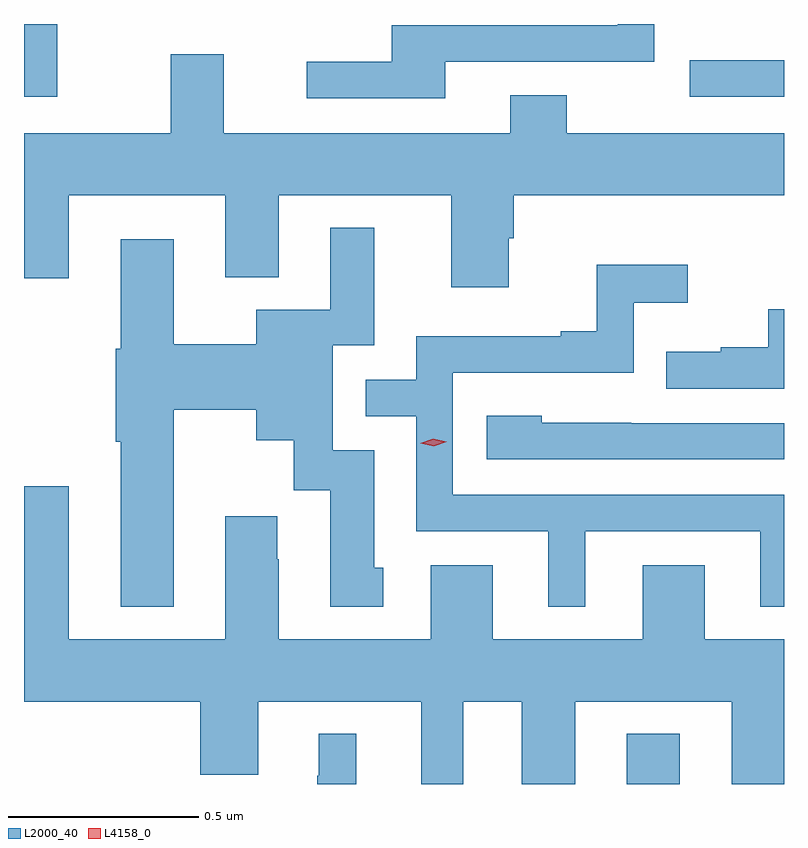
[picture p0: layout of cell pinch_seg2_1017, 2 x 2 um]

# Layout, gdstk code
import gdstk
lib = gdstk.Library(unit=1e-6, precision=1e-09)
def R(c, l, rs):  # rectangles x0, y0, x1, y1
    for r in rs: c.add(gdstk.rectangle(r[:2], r[2:], *l))
def P(c, l, *ps):  # polygons
    for p in ps: c.add(gdstk.Polygon(p, *l))
L2000_40 = (2000, 40)
L4158_0 = (4158, 0)

pinch_seg2_1017 = lib.new_cell('pinch_seg2_1017')
R(pinch_seg2_1017, L2000_40, [(137.015,652.747,137.155,652.879), (135.429,654.555,135.517,654.747), (137.181,654.555,137.429,654.651)])
P(pinch_seg2_1017, L2000_40, [(136.537,654.648),(137.088,654.648),(137.088,654.747),(136.992,654.747),(136.992,654.744),(136.397,654.744),(136.397,654.648),(136.173,654.648),(136.173,654.552),(136.537,654.552)],
  [(136.705,654.183),(136.718,654.183),(136.718,654.296),(137.429,654.296),(137.429,654.46),(136.857,654.46),(136.857,654.559),(136.709,654.559),(136.709,654.46),(135.955,654.46),(135.955,654.668),(135.815,654.668),(135.815,654.46),(135.429,654.46),(135.429,654.078),(135.547,654.078),(135.547,654.296),(135.959,654.296),(135.959,654.08),(136.099,654.08),(136.099,654.296),(136.553,654.296),(136.553,654.054),(136.705,654.054)],
  [(135.823,653.732),(136.04,653.732),(136.04,653.651),(136.139,653.651),(136.139,653.52),(136.235,653.52),(136.235,653.214),(136.375,653.214),(136.375,653.316),(136.351,653.316),(136.351,653.625),(136.242,653.625),(136.242,653.901),(136.351,653.901),(136.351,654.211),(136.235,654.211),(136.235,653.995),(136.04,653.995),(136.04,653.904),(135.823,653.904),(135.823,654.181),(135.683,654.181),(135.683,653.892),(135.671,653.892),(135.671,653.648),(135.683,653.648),(135.683,653.213),(135.823,653.213)],
  [(136.906,653.412),(137.366,653.412),(137.366,653.213),(137.429,653.213),(137.429,653.508),(136.557,653.508),(136.557,653.829),(137.034,653.829),(137.034,654.014),(137.176,654.014),(137.176,654.113),(136.936,654.113),(136.936,653.938),(136.841,653.938),(136.841,653.925),(136.461,653.925),(136.461,653.811),(136.328,653.811),(136.328,653.715),(136.461,653.715),(136.461,653.412),(136.808,653.412),(136.808,653.213),(136.906,653.213)],
  [(137.429,653.997),(137.387,653.997),(137.387,653.896),(137.263,653.896),(137.263,653.884),(137.119,653.884),(137.119,653.787),(137.429,653.787)],
  [(137.429,653.697),(137.027,653.697),(137.027,653.698),(136.791,653.698),(136.791,653.716),(136.647,653.716),(136.647,653.601),(137.429,653.601)],
  [(137.291,652.747),(137.429,652.747),(137.429,653.128),(137.221,653.128),(137.221,653.323),(137.057,653.323),(137.057,653.128),(136.663,653.128),(136.663,653.323),(136.499,653.323),(136.499,653.128),(136.099,653.128),(136.099,653.339),(136.096,653.339),(136.096,653.452),(135.959,653.452),(135.959,653.128),(135.547,653.128),(135.547,653.53),(135.429,653.53),(135.429,652.964),(135.893,652.964),(135.893,652.772),(136.045,652.772),(136.045,652.964),(136.475,652.964),(136.475,652.747),(136.585,652.747),(136.585,652.964),(136.739,652.964),(136.739,652.747),(136.879,652.747),(136.879,652.964),(137.291,652.964)],
  [(136.303,652.879),(136.205,652.879),(136.205,652.769),(136.201,652.769),(136.201,652.747),(136.303,652.747)])
P(pinch_seg2_1017, L4158_0, [(136.507,653.636),(136.472,653.644),(136.472,653.644),(136.472,653.644),(136.506,653.656),(136.541,653.648),(136.541,653.648),(136.541,653.648)])

lib.write_gds('pinch_seg2_1017.gds')
